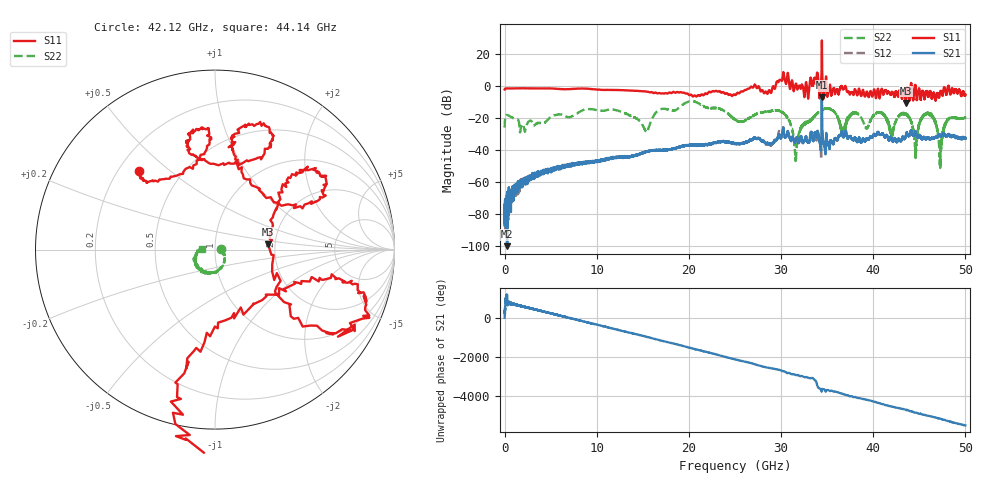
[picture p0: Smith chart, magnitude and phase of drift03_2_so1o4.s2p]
!Created with skrf (http://scikit-rf.org).
# Hz S RI R 50.0
!freq ReS11 ImS11 ReS21 ImS21 ReS12 ImS12 ReS22 ImS22
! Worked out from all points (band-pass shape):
!   10000 points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, 5.3 MHz to 50 GHz, reference 50 ohm
!   highest |S21| = -6.92 dB at 34.43 GHz (marker M1); lowest = -100.0 dB at 290.3 MHz (marker M2)
!   |S21| within 3 dB of the highest: 34.42752 GHz to 34.43571 GHz (8.19 MHz wide, 0.0238 % of centre)
!   lowest |S11| = -10.5 dB at 43.53 GHz (marker M3), VSWR 1.85, Z = 91.7 + j6.15 ohm
!   |S11| at or under -10 dB: 43.51746 GHz to 43.52251 GHz (5.046 MHz wide, 0.0116 % of centre); 43.5262 GHz to 43.54036 GHz (14.17 MHz wide, 0.0325 % of centre)
!   |S22| runs from -51.2 to -9.4 dB; largest |S21 - S12| = 0.12
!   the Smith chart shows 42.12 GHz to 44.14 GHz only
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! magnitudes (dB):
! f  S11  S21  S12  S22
! 5.3 MHz  -2.1  -75.4  -73.3  -25.8
! 290.3 MHz  -1.4  -100.0  -77.1  -18.1
! 3.035 GHz  -1.4  -55.2  -55.5  -22.9
! 8.34 GHz  -1.5  -48.3  -47.9  -15.4
! 15.38 GHz  -3.4  -40.9  -40.8  -28.4
! 16.67 GHz  -4.4  -40.0  -39.9  -15.3
! 20.43 GHz  -6.5  -36.7  -36.5  -9.5
! 25.01 GHz  -5.5  -35.9  -35.9  -20.9
! 29.96 GHz  3.9  -32.5  -32.3  -15.8
! 31.61 GHz  1.5  -33.5  -33.8  -45.4
! 33.34 GHz  2.3  -30.1  -30.4  -20.3
! 34.43 GHz  28.6  -6.9  -8.7  -14.7
! 36.69 GHz  -1.9  -29.9  -30.0  -28.6
! 37.94 GHz  -3.5  -32.5  -32.7  -16.6
! 41.67 GHz  -3.5  -33.6  -33.5  -23.4
! 43.53 GHz  -10.5  -31.4  -31.4  -17.2
! 44.6 GHz  -0.6  -28.8  -28.9  -43.4
! 45.27 GHz  -4.4  -32.7  -33.1  -20.3
! 46.21 GHz  -3.4  -33.2  -32.7  -17.4
! 47.29 GHz  -3.4  -31.5  -30.7  -49.8
! 48.11 GHz  -0.2  -30.0  -30.1  -20.8
! 50 GHz  -5.3  -32.8  -32.7  -19.7
